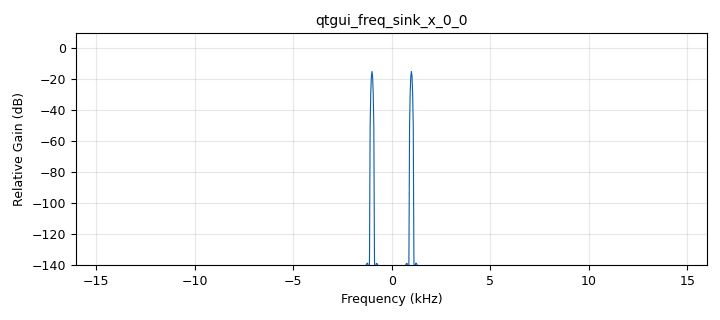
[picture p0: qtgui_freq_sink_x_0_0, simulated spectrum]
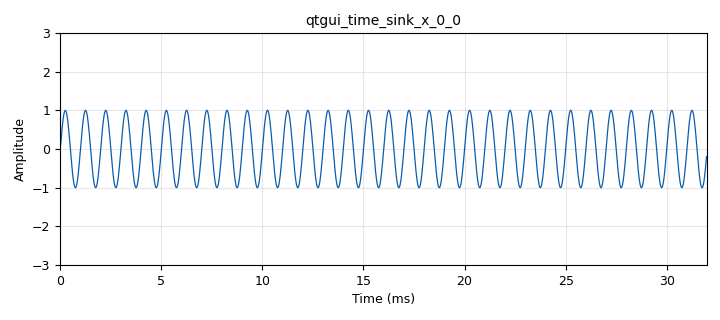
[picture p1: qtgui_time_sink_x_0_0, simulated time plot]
options:
  parameters:
    author: Aqil
    generate_options: qt_gui
    id: Praktikum1c
    output_language: python
    title: Praktikum 1
  states: {}

blocks:
- name: frekuensi
  id: variable_qtgui_range
  parameters:
    start: '-1500'
    step: '10'
    stop: '1500'
    value: '1000'
  states: {}
- name: frekuensi
  id: variable_qtgui_chooser
  parameters:
    label0: frekuensi 1000
    label1: frekuensi 200
    label2: frekuensi -500
    num_opts: '3'
    option0: '1000'
    option1: '200'
    option2: '-500'
    type: int
    value: '1000'
  states: {state: disabled}
- name: samp_rate
  id: variable
  parameters:
    value: '32000'
  states: {}
- name: analog_sig_source_x_0_0
  id: analog_sig_source_x
  parameters:
    amp: '1'
    freq: frekuensi
    offset: '0'
    phase: '0'
    samp_rate: samp_rate
    type: float
    waveform: analog.GR_SIN_WAVE
  states: {}
- name: audio_sink_0_0
  id: audio_sink
  parameters:
    samp_rate: samp_rate
  states: {state: disabled}
- name: blocks_throttle2_0_0
  id: blocks_throttle2
  parameters:
    samples_per_second: samp_rate
    type: float
  states: {}
- name: qtgui_freq_sink_x_0_0
  id: qtgui_freq_sink_x
  parameters:
    bw: samp_rate
    fc: '0'
    fftsize: '1024'
    type: float
  states: {}
- name: qtgui_time_sink_x_0_0
  id: qtgui_time_sink_x
  parameters:
    color1: dark blue
    size: '1024'
    srate: samp_rate
    type: float
    ymax: '3'
    ymin: '-3'
  states: {}

connections:
- [analog_sig_source_x_0_0, '0', blocks_throttle2_0_0, '0']
- [blocks_throttle2_0_0, '0', audio_sink_0_0, '0']
- [blocks_throttle2_0_0, '0', qtgui_freq_sink_x_0_0, '0']
- [blocks_throttle2_0_0, '0', qtgui_time_sink_x_0_0, '0']

metadata:
  file_format: 1
  grc_version: 3.10.12.0
